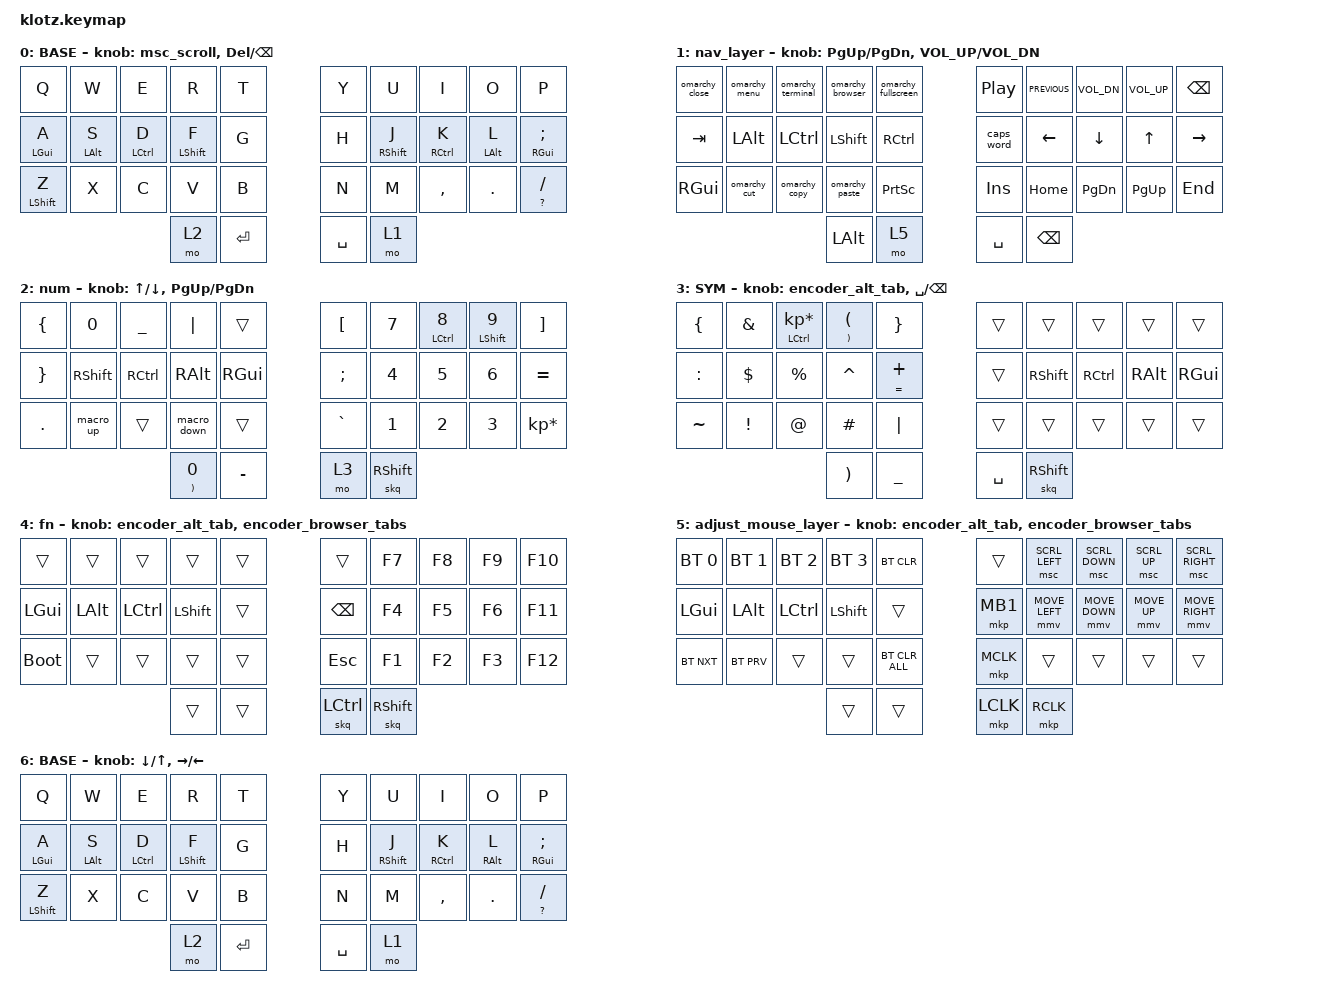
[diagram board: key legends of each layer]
//                                      █         ██        ▄▀▀▀▀▀▀▀▀▀▀█▀▀▀▀▀▀▀▀█▀▀▀▀▀▀▀▀▀▀█
//                                      █        █ █      ▄▀            ▀▄      █         █
//                                      █       █  █    ▄▀                ▀▄    █        █
//                                      █      █   █   █                    █   █       █
//                                      █     █    █   █                    █   █      █
//                                      █    █     █   █                    █   █  ▀▀▀█▀▀▀▀
//                                      █   █ █    █   █                    █   █    █
//                                      █  █   █   █   █                    █   █   █
//                                      █ █     █  █    ▀▄                ▄▀    █  █
//                                      ██       █ █      ▀▄            ▄▀      █ █
//                                      █         ██▄▄▄▄▄▄▄▄█▄▄▄▄▄▄▄▄▄▄▀        ██▄▄▄▄▄▄▄▄▄▄
//
// ▄▄▄▄▄▄▄▄▄▄▄▄▄▄▄▄▄▄▄▄▄▄▄▄▄▄▄▄▄▄▄▄▄▄▄▄▄▄▄▄▄▄▄▄▄▄▄▄▄▄▄▄▄▄▄▄▄▄▄▄▄▄▄▄▄▄▄▄▄▄▄▄▄▄▄▄▄▄▄▄▄▄▄▄▄▄▄▄▄▄▄▄▄▄▄▄▄▄▄▄▄▄▄▄▄▄▄▄▄▄▄▄▄▄▄▄▄▄▄▄▄▄▄▄▄

#include <behaviors.dtsi>
#include <dt-bindings/zmk/bt.h>
#include <dt-bindings/zmk/keys.h>
#include <dt-bindings/zmk/pointing.h>

#define ZMK_POINTING_DEFAULT_MOVE_VAL 2000  // default: 600
#define ZMK_POINTING_DEFAULT_SCRL_VAL 30   // default: 10
#define ZMK_MOUSE_SCRL_VAL 120
#define BASE 0
#define NAV  1
#define SYM  2
#define ADJ  3
#define JMP  4
#define OSL  5
#define COMBOMS 25

&lt {
    flavor = "tap-preferred";
    tapping-term-ms = <200>;
    hold-trigger-key-positions = <>;
};

/ {
    combos {
        // BASE

        compatible = "zmk,combos";

        combo_esc {
            timeout-ms = <COMBOMS>;
            key-positions = <0 1>;
            bindings = <&kp ESC>;
            layers = <0>;
        };

        compatible = "zmk,combos";

        // GLOBAL

        compatible = "zmk,combos";
        compatible = "zmk,combos";
        compatible = "zmk,combos";

        combo_spc_2 {
            timeout-ms = <COMBOMS>;
            key-positions = <13 14>;
            bindings = <&kp SPACE>;
        };

        compatible = "zmk,combos";

        combo_bspc {
            timeout-ms = <COMBOMS>;
            key-positions = <15 16>;
            bindings = <&kp BSPC>;
        };

        compatible = "zmk,combos";

        combo_del {
            timeout-ms = <COMBOMS>;
            key-positions = <6 7>;
            bindings = <&kp DEL>;
        };

        compatible = "zmk,combos";
        compatible = "zmk,combos";

        combo_ret {
            timeout-ms = <COMBOMS>;
            key-positions = <25 26>;
            bindings = <&kp RET>;
        };

        compatible = "zmk,combos";
        compatible = "zmk,combos";

        combo_ctrlz {
            timeout-ms = <COMBOMS>;
            key-positions = <20 21>;
            bindings = <&macro_ctrlz>;
            layers = <0 6>;
        };

        compatible = "zmk,combos";

        combo_ctrlshftz {
            timeout-ms = <COMBOMS>;
            key-positions = <20 21 22>;
            bindings = <&macro_ctrlshftz>;
            layers = <0 6>;
        };

        compatible = "zmk,combos";

        combo_ctrlx {
            timeout-ms = <COMBOMS>;
            key-positions = <21 22>;
            bindings = <&macro_ctrlx>;
            layers = <0 6>;
        };

        compatible = "zmk,combos";

        combo_ctrlc {
            timeout-ms = <COMBOMS>;
            key-positions = <22 23>;
            bindings = <&macro_ctrlc>;
            layers = <0 6>;
        };

        compatible = "zmk,combos";

        combo_ctrlv {
            timeout-ms = <COMBOMS>;
            key-positions = <23 24>;
            bindings = <&macro_ctrlv>;
            layers = <0 6>;
        };

        compatible = "zmk,combos";

        combo_fn {
            timeout-ms = <COMBOMS>;
            key-positions = <30 31>;
            bindings = <&mo 4>;
        };

        tab {
            bindings = <&kp TAB>;
            key-positions = <2 3>;
        };

        tab_app {
            bindings = <&tabcw>;
            key-positions = <1 2>;
            timeout-ms = <COMBOMS>;
        };

        TO_ARROWS {
            bindings = <&tog 6>;
            key-positions = <1 2 3 0>;
        };

        backspace_auto {
            bindings = <&skq BACKSPACE>;
            key-positions = <5 6>;
            timeout-ms = <COMBOMS>;
        };
    };

    macros {
        macro_esc: macro_esc {
            compatible = "zmk,behavior-macro";
            #binding-cells = <0>;
            bindings = <&to 0 &kp ESC>;
        };

        tabcw: tabcw {
            compatible = "zmk,behavior-macro";
            #binding-cells = <0>;
            bindings =
                <&macro_press>,
                <&kp LALT>,
                <&macro_tap>,
                <&kp TAB>,
                <&macro_release>,
                <&kp LALT>;
        };

        tabccw: tabccw {
            compatible = "zmk,behavior-macro";
            #binding-cells = <0>;
            bindings =
                <&macro_press>,
                <&kp LALT>,
                <&macro_press>,
                <&kp LSHFT>,
                <&macro_tap>,
                <&kp TAB>,
                <&macro_release>,
                <&kp LSHFT>,
                <&macro_release>,
                <&kp LALT>;
        };

        browser_tab_next: browser_tab_next {
            compatible = "zmk,behavior-macro";
            #binding-cells = <0>;
            bindings =
                <&macro_press>,
                <&kp LCTRL>,
                <&macro_tap>,
                <&kp TAB>,
                <&macro_release>,
                <&kp LCTRL>;
        };

        browser_tab_previous: browser_tab_previous {
            compatible = "zmk,behavior-macro";
            #binding-cells = <0>;
            bindings =
                <&macro_press>,
                <&kp LCTRL>,
                <&macro_press>,
                <&kp LSHFT>,
                <&macro_tap>,
                <&kp TAB>,
                <&macro_release>,
                <&kp LSHFT>,
                <&macro_release>,
                <&kp LCTRL>;
        };

        macro_ctrlz: macro_ctrlz {
            compatible = "zmk,behavior-macro";
            #binding-cells = <0>;
            bindings =
                <&macro_press>,
                <&kp LCTRL>,
                <&macro_tap>,
                <&kp Z>,
                <&macro_release>,
                <&kp LCTRL>;
        };

        macro_ctrlshftz: macro_ctrlshftz {
            compatible = "zmk,behavior-macro";
            #binding-cells = <0>;
            bindings =
                <&macro_press>,
                <&kp LCTRL>,
                <&macro_press>,
                <&kp LSHFT>,
                <&macro_tap>,
                <&kp Z>,
                <&macro_release>,
                <&kp LCTRL>,
                <&macro_release>,
                <&kp LSHFT>;
        };

        macro_ctrlx: macro_ctrlx {
            compatible = "zmk,behavior-macro";
            #binding-cells = <0>;
            bindings =
                <&macro_press>,
                <&kp LCTRL>,
                <&macro_tap>,
                <&kp X>,
                <&macro_release>,
                <&kp LCTRL>;
        };

        macro_ctrlc: macro_ctrlc {
            compatible = "zmk,behavior-macro";
            #binding-cells = <0>;
            bindings =
                <&macro_press>,
                <&kp LCTRL>,
                <&macro_tap>,
                <&kp C>,
                <&macro_release>,
                <&kp LCTRL>;
        };

        macro_ctrlv: macro_ctrlv {
            compatible = "zmk,behavior-macro";
            #binding-cells = <0>;
            bindings =
                <&macro_press>,
                <&kp LCTRL>,
                <&macro_tap>,
                <&kp V>,
                <&macro_release>,
                <&kp LCTRL>;
        };

        macro_ctrls: macro_ctrls {
            compatible = "zmk,behavior-macro";
            #binding-cells = <0>;
            bindings =
                <&macro_press>,
                <&kp LCTRL>,
                <&macro_tap>,
                <&kp S>,
                <&macro_release>,
                <&kp LCTRL>;
        };

        macro_up: macro_up {
            compatible = "zmk,behavior-macro";
            #binding-cells = <0>;
            bindings =
                <&macro_press>,
                <&kp LCTRL>,
                <&macro_tap>,
                <&kp U>,
                <&macro_release>,
                <&kp LCTRL>;
        };

        macro_down: macro_down {
            compatible = "zmk,behavior-macro";
            #binding-cells = <0>;
            bindings =
                <&macro_press>,
                <&kp LCTRL>,
                <&macro_tap>,
                <&kp D>,
                <&macro_release>,
                <&kp LCTRL>;
        };

        omarchy_close: omarchy_close {
            compatible = "zmk,behavior-macro";
            #binding-cells = <0>;
            bindings =
                <&macro_press>,
                <&kp LGUI>,
                <&macro_tap>,
                <&kp Q>,
                <&macro_release>,
                <&kp LGUI>;
        };

        omarchy_menu: omarchy_menu {
            compatible = "zmk,behavior-macro";
            #binding-cells = <0>;
            bindings =
                <&macro_press>,
                <&kp LGUI>,
                <&macro_tap>,
                <&kp SPACE>,
                <&macro_release>,
                <&kp LGUI>;
        };

        omarchy_terminal: omarchy_terminal {
            compatible = "zmk,behavior-macro";
            #binding-cells = <0>;
            bindings =
                <&macro_press>,
                <&kp LGUI>,
                <&macro_tap>,
                <&kp ENTER>,
                <&macro_release>,
                <&kp LGUI>;
        };

        omarchy_browser: omarchy_browser {
            compatible = "zmk,behavior-macro";
            #binding-cells = <0>;
            bindings =
                <&macro_press>,
                <&kp LGUI>,
                <&macro_press>,
                <&kp LSHFT>,
                <&macro_tap>,
                <&kp ENTER>,
                <&macro_release>,
                <&kp LSHFT>,
                <&macro_release>,
                <&kp LGUI>;
        };

        omarchy_fullscreen: omarchy_fullscreen {
            compatible = "zmk,behavior-macro";
            #binding-cells = <0>;
            bindings =
                <&macro_press>,
                <&kp LGUI>,
                <&macro_tap>,
                <&kp F>,
                <&macro_release>,
                <&kp LGUI>;
        };

        omarchy_cut: omarchy_cut {
            compatible = "zmk,behavior-macro";
            #binding-cells = <0>;
            bindings =
                <&macro_press>,
                <&kp LGUI>,
                <&macro_tap>,
                <&kp X>,
                <&macro_release>,
                <&kp LGUI>;
        };

        omarchy_copy: omarchy_copy {
            compatible = "zmk,behavior-macro";
            #binding-cells = <0>;
            bindings =
                <&macro_press>,
                <&kp LGUI>,
                <&macro_tap>,
                <&kp C>,
                <&macro_release>,
                <&kp LGUI>;
        };

        omarchy_paste: omarchy_paste {
            compatible = "zmk,behavior-macro";
            #binding-cells = <0>;
            bindings =
                <&macro_press>,
                <&kp LGUI>,
                <&macro_tap>,
                <&kp V>,
                <&macro_release>,
                <&kp LGUI>;
        };

        os_hk: os_hk {
            compatible = "zmk,behavior-macro-one-param";
            #binding-cells = <1>;
            bindings =
                <&macro_press>,
                <&kp LALT>,
                <&macro_press>,
                <&kp LGUI>,
                <&macro_press>,
                <&kp LSHFT &macro_param_1to1>,
                <&macro_tap>,
                <&kp MACRO_PLACEHOLDER>,
                <&macro_release>,
                <&kp LALT>,
                <&macro_release>,
                <&kp LGUI>,
                <&macro_release>,
                <&kp LSHFT>;
        };

        m_set: m_set {
            compatible = "zmk,behavior-macro-one-param";
            #binding-cells = <1>;
            bindings =
                <&macro_tap>,
                <&kp M>,
                <&macro_press>,
                <&kp LSHFT &macro_param_1to1>,
                <&macro_tap>,
                <&kp MACRO_PLACEHOLDER>,
                <&macro_release>,
                <&kp LSHFT>;
        };

        m_jmp: m_jmp {
            compatible = "zmk,behavior-macro-one-param";
            #binding-cells = <1>;
            bindings =
                <&macro_tap>,
                <&kp GRAVE>,
                <&macro_press>,
                <&kp LSHFT &macro_param_1to1>,
                <&macro_tap>,
                <&kp MACRO_PLACEHOLDER>,
                <&macro_release>,
                <&kp LSHFT>;
        };

        m_paste: m_paste {
            compatible = "zmk,behavior-macro-one-param";
            #binding-cells = <1>;
            bindings =
                <&macro_tap>,
                <&kp DQT &macro_param_1to1>,
                <&macro_tap>,
                <&kp MACRO_PLACEHOLDER>,
                <&macro_tap>,
                <&kp P>;
        };

        m_dkp: m_dkp {
            compatible = "zmk,behavior-macro-two-param";
            #binding-cells = <2>;
            bindings =
                <&macro_param_1to1>,
                <&macro_tap>,
                <&kp MACRO_PLACEHOLDER &macro_param_2to1>,
                <&macro_tap>,
                <&kp MACRO_PLACEHOLDER>;
        };
    };

    behaviors {
        encoder_alt_tab: encoder_alt_tab {
            compatible = "zmk,behavior-sensor-rotate";
            #sensor-binding-cells = <0>;
            bindings = <&tabcw>, <&tabccw>;
        };

        encoder_browser_tabs: encoder_browser_tabs {
            compatible = "zmk,behavior-sensor-rotate";
            #sensor-binding-cells = <0>;
            bindings = <&browser_tab_next>, <&browser_tab_previous>;
        };

        hml: hml {
            compatible = "zmk,behavior-hold-tap";
            #binding-cells = <2>;
            flavor = "tap-preferred";
            bindings = <&kp>, <&kp>;

            tapping-term-ms = <200>;
        };

        hrml: home_row_mod_left {
            compatible = "zmk,behavior-hold-tap";
            #binding-cells = <2>;
            flavor = "balanced";
            bindings = <&kp>, <&kp>;
            tapping-term-ms = <230>;
            quick-tap-ms = <175>;
            require-prior-idle-ms = <125>;
            hold-trigger-key-positions = <5 6 7 8 9 15 16 17 18 19 25 26 27 28 29 32 33>;
            hold-trigger-on-release;
        };

        hrmr: home_row_mod_right {
            compatible = "zmk,behavior-hold-tap";
            #binding-cells = <2>;
            flavor = "balanced";
            bindings = <&kp>, <&kp>;
            tapping-term-ms = <230>;
            quick-tap-ms = <175>;
            require-prior-idle-ms = <125>;
            hold-trigger-key-positions = <0 1 2 3 4 10 11 12 13 14 20 21 22 23 24 30 31>;
            hold-trigger-on-release;
        };

        ctl: custom_tap_layer {
            compatible = "zmk,behavior-hold-tap";
            #binding-cells = <2>;
            flavor = "tap-preferred";
            bindings = <&mo>, <&kp>;

            tapping-term-ms = <220>;
            quick-tap-ms = <175>;
        };

        htl: hold_toggle_layer {
            compatible = "zmk,behavior-hold-tap";
            #binding-cells = <2>;
            flavor = "balanced";
            bindings = <&mo>, <&tog>;

            tapping-term-ms = <220>;
        };

        csl: custom_sticky_layer {
            compatible = "zmk,behavior-sticky-key";
            #binding-cells = <1>;
            bindings = <&mo>;
            release-after-ms = <2000>;
            quick-release;
            ignore-modifiers;
        };

        skq: sticky_key_quick_release {
            compatible = "zmk,behavior-sticky-key";
            #binding-cells = <1>;
            bindings = <&kp>;
            release-after-ms = <2000>;
            quick-release;
            ignore-modifiers;
        };

        hmr: hmr {
            compatible = "zmk,behavior-hold-tap";
            #binding-cells = <2>;
            flavor = "tap-preferred";
            bindings = <&kp>, <&kp>;

            tapping-term-ms = <200>;
            label = "HMR";
        };

        msc_scroll: msc_scroll {
            compatible = "zmk,behavior-sensor-rotate";
            label = "MSC_SCROLL";
            #sensor-binding-cells = <0>;
            bindings = <&msc SCRL_DOWN>, <&msc SCRL_UP>;

            tap-ms = <200>;
        };
    };

    keymap {
        compatible = "zmk,keymap";

        // ▄▄▄▄▄▄▄▄▄▄▄▄▄▄▄▄▄▄▄▄▄▄▄▄▄▄▄▄▄▄▄▄▄▄▄▄▄▄▄▄▄▄▄▄▄▄▄▄▄▄▄▄▄▄▄▄▄▄▄▄▄▄▄▄▄▄▄▄▄▄▄▄▄▄▄▄▄▄▄▄▄▄▄▄▄▄▄▄▄▄▄▄▄▄▄▄▄▄▄▄▄▄▄▄▄▄▄▄▄▄▄▄▄▄▄▄▄▄▄▄▄▄▄▄▄

        base_layer {
            // ┏━━━━━━━━━━━━━━━━━━━━━━━━━━━━━━━━━━━━━━━┓

            display-name = "BASE";

            // ┗━━━━━━━━━━━━━━━━━━━━━━━━━━━━━━━━━━━━━━━┛

            bindings = <
&kp Q            &kp W            &kp E         &kp R              &kp T        &kp Y        &kp U               &kp I         &kp O            &kp P
&hrml LEFT_GUI A  &hrml LEFT_ALT S  &hrml LCTRL D  &hrml LEFT_SHIFT F  &kp G        &kp H        &hrmr RIGHT_SHIFT J  &hrmr RCTRL K  &hrmr LEFT_ALT L  &hrmr RIGHT_GUI SEMICOLON
&hrml LEFT_SHIFT Z  &kp X            &kp C         &kp V              &kp B        &kp N        &kp M               &kp COMMA     &kp PERIOD       &hmr QUESTION SLASH
                                                 &mo 2             &kp ENTER    &kp SPACE   &mo 1
            >;

            sensor-bindings = <&msc_scroll>, <&inc_dec_kp DELETE BACKSPACE>;
        };

        nav_layer {
            bindings = <
&omarchy_close                &omarchy_menu               &omarchy_terminal      &omarchy_browser          &omarchy_fullscreen              &kp C_PLAY_PAUSE  &kp C_PREVIOUS  &kp C_VOL_DN    &kp C_VOLUME_UP  &kp BACKSPACE
&kp TAB                       &kp LALT                   &kp LCTRL              &kp LSHFT                 &kp RCTRL                       &caps_word        &kp LEFT_ARROW  &kp DOWN_ARROW  &kp UP_ARROW     &kp RIGHT_ARROW
&kp RGUI                      &omarchy_cut               &omarchy_copy          &omarchy_paste            &kp PRINTSCREEN                 &kp INSERT        &kp HOME        &kp PAGE_DOWN   &kp PG_UP        &kp END
                                                                                &kp LALT                  &mo 5                           &kp SPACE         &kp BACKSPACE
            >;

            sensor-bindings =
                <&inc_dec_kp PG_UP PAGE_DOWN>,
                <&inc_dec_kp C_VOLUME_UP C_VOL_DN>;
        };

        num_layer {
            // ┏━━━━━━━━━━━━━━━━━━━━━━━━━━━━━━━━━━━━━━━┓

            display-name = "num";

            // ┗━━━━━━━━━━━━━━━━━━━━━━━━━━━━━━━━━━━━━━━┛

            bindings = <
&kp LBRC        &kp NUMBER_0     &kp UNDER  &kp PIPE       &trans          &kp LBKT       &kp N7        &hml LCTRL N8  &hml LSHFT N9  &kp RBKT
&kp RBRC        &kp RIGHT_SHIFT  &kp RCTRL  &kp RIGHT_ALT  &kp RIGHT_GUI  &kp SEMICOLON  &kp N4        &kp N5         &kp N6         &kp EQUAL
&kp DOT         &macro_up        &trans     &macro_down    &trans          &kp GRAVE      &kp N1        &kp N2         &kp N3         &kp KP_MULTIPLY
                                      &hml RIGHT_PARENTHESIS NUMBER_0  &kp MINUS        &mo 3      &skq RSHFT
            >;

            sensor-bindings =
                <&inc_dec_kp UP_ARROW DOWN_ARROW>,
                <&inc_dec_kp PG_UP PG_DN>;
        };

        sim_layer {
            // ┏━━━━━━━━━━━━━━━━━━━━━━━━━━━━━━━━━━━━━━━┓

            display-name = "SYM";

            // ┗━━━━━━━━━━━━━━━━━━━━━━━━━━━━━━━━━━━━━━━┛

            bindings = <
&kp LEFT_BRACE  &kp AMPERSAND  &hml LCTRL KP_MULTIPLY  &hml RIGHT_PARENTHESIS LEFT_PARENTHESIS  &kp RIGHT_BRACE  &trans     &trans           &trans     &trans         &trans
&kp COLON       &kp DLLR       &kp PRCNT               &kp CARET                                &hml EQUAL PLUS  &trans     &kp RIGHT_SHIFT  &kp RCTRL  &kp RIGHT_ALT  &kp RIGHT_GUI
&kp TILDE       &kp EXCL       &kp AT                  &kp HASH                                 &kp PIPE         &trans     &trans           &trans     &trans         &trans
                                                       &kp RIGHT_PARENTHESIS                    &kp UNDER        &kp SPACE  &skq RSHFT
            >;

            sensor-bindings = <&encoder_alt_tab>, <&inc_dec_kp SPACE BACKSPACE>;
        };

        fn_layer {
            // ┏━━━━━━━━━━━━━━━━━━━━━━━━━━━━━━━━━━━━━━━┓

            display-name = "fn";

            // ┗━━━━━━━━━━━━━━━━━━━━━━━━━━━━━━━━━━━━━━━┛

            bindings = <
&trans        &trans        &trans     &trans          &trans  &trans      &kp F7      &kp F8  &kp F9  &kp F10
&kp LEFT_GUI  &kp LEFT_ALT  &kp LCTRL  &kp LEFT_SHIFT  &trans  &kp BSPC    &kp F4      &kp F5  &kp F6  &kp F11
&bootloader   &trans        &trans     &trans          &trans  &kp ESC     &kp F1      &kp F2  &kp F3  &kp F12
                                       &trans          &trans  &skq LCTRL  &skq RSHFT
            >;

            sensor-bindings = <&encoder_alt_tab &encoder_browser_tabs>;
        };

        adjust_mouse_layer {
            bindings = <
&bt BT_SEL 0  &bt BT_SEL 1  &bt BT_SEL 2  &bt BT_SEL 3  &bt BT_CLR      &trans     &msc SCRL_LEFT  &msc SCRL_DOWN  &msc SCRL_UP  &msc SCRL_RIGHT
&kp LGUI      &kp LALT      &kp LCTRL     &kp LSHFT     &trans          &mkp MB1   &mmv MOVE_LEFT  &mmv MOVE_DOWN  &mmv MOVE_UP  &mmv MOVE_RIGHT
&bt BT_NXT    &bt BT_PRV    &trans        &trans        &bt BT_CLR_ALL  &mkp MCLK  &trans          &trans          &trans        &trans
                                          &trans        &trans          &mkp LCLK  &mkp RCLK
            >;

            sensor-bindings = <&encoder_alt_tab>, <&encoder_browser_tabs>;
        };

        Base_arrows {
            display-name = "BASE";
            bindings = <
&kp Q            &kp W            &kp E         &kp R              &kp T        &kp Y        &kp U               &kp I         &kp O             &kp P
&hrml LEFT_GUI A  &hrml LEFT_ALT S  &hrml LCTRL D  &hrml LEFT_SHIFT F  &kp G        &kp H        &hrmr RIGHT_SHIFT J  &hrmr RCTRL K  &hrmr RIGHT_ALT L  &hrmr RIGHT_GUI SEMICOLON
&hrml LEFT_SHIFT Z  &kp X            &kp C         &kp V              &kp B        &kp N        &kp M               &kp COMMA     &kp PERIOD        &hmr QUESTION SLASH
                                                 &mo 2             &kp ENTER    &kp SPACE   &mo 1
            >;

            sensor-bindings =
                <&inc_dec_kp DOWN_ARROW UP_ARROW>,
                <&inc_dec_kp RIGHT_ARROW LEFT_ARROW>;
        };
    };
};
